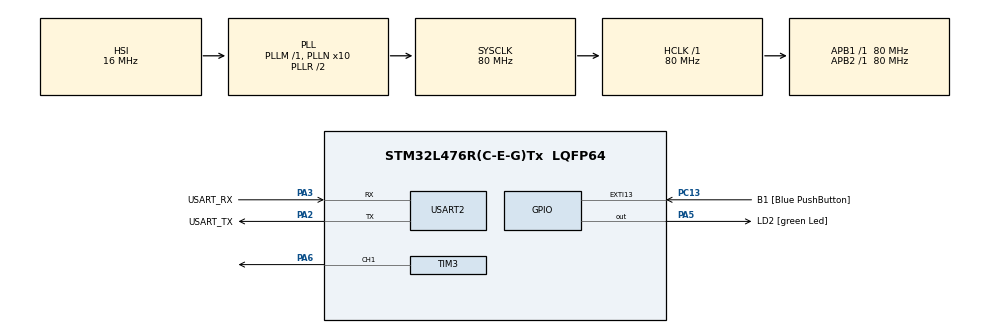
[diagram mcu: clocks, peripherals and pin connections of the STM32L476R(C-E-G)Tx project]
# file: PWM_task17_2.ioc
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Mcu.Family=STM32L4
Mcu.Name=STM32L476R(C-E-G)Tx
Mcu.Package=LQFP64
NVIC.PriorityGroup=NVIC_PRIORITYGROUP_4
NVIC.USART2_IRQn=true\:0\:0\:false\:false\:true\:true\:true\:true
PA13\ (JTMS-SWDIO).GPIO_Label=TMS
PA13\ (JTMS-SWDIO).Mode=Serial_Wire
PA13\ (JTMS-SWDIO).Signal=SYS_JTMS-SWDIO
PA14\ (JTCK-SWCLK).GPIO_Label=TCK
PA14\ (JTCK-SWCLK).Mode=Serial_Wire
PA14\ (JTCK-SWCLK).Signal=SYS_JTCK-SWCLK
PA2.GPIO_Label=USART_TX
PA2.GPIO_Mode=GPIO_MODE_AF_PP
PA2.GPIO_PuPd=GPIO_NOPULL
PA2.GPIO_Speed=GPIO_SPEED_FREQ_VERY_HIGH
PA2.Mode=Asynchronous
PA2.Signal=USART2_TX
PA3.GPIO_Label=USART_RX
PA3.GPIO_Mode=GPIO_MODE_AF_PP
PA3.GPIO_PuPd=GPIO_NOPULL
PA3.GPIO_Speed=GPIO_SPEED_FREQ_VERY_HIGH
PA3.Mode=Asynchronous
PA3.Signal=USART2_RX
PA5.GPIO_Label=LD2 [green Led]
PA5.GPIO_ModeDefaultOutputPP=GPIO_MODE_OUTPUT_PP
PA5.GPIO_PuPd=GPIO_NOPULL
PA5.GPIO_Speed=GPIO_SPEED_FREQ_LOW
PA5.Signal=GPIO_Output
PA6.Signal=S_TIM3_CH1
PB3\ (JTDO-TRACESWO).GPIO_Label=SWO
PB3\ (JTDO-TRACESWO).Signal=SYS_JTDO-SWO
PC13.GPIO_Label=B1 [Blue PushButton]
PC13.GPIO_ModeDefaultEXTI=GPIO_MODE_IT_FALLING
PC13.GPIO_PuPd=GPIO_NOPULL
PC13.Signal=GPXTI13
PC14-OSC32_IN\ (PC14).Mode=LSE-External-Oscillator
PC14-OSC32_IN\ (PC14).Signal=RCC_OSC32_IN
PC15-OSC32_OUT\ (PC15).Mode=LSE-External-Oscillator
PC15-OSC32_OUT\ (PC15).Signal=RCC_OSC32_OUT
PH0-OSC_IN\ (PH0).Signal=RCC_OSC_IN
PH1-OSC_OUT\ (PH1).Signal=RCC_OSC_OUT
ProjectManager.HeapSize=0x200
ProjectManager.StackSize=0x400
ProjectManager.TargetToolchain=STM32CubeIDE
RCC.ADCFreq_Value=64000000
RCC.AHBFreq_Value=80000000
RCC.APB1Freq_Value=80000000
RCC.APB1TimFreq_Value=80000000
RCC.APB2Freq_Value=80000000
RCC.APB2TimFreq_Value=80000000
RCC.CortexFreq_Value=80000000
RCC.HCLKFreq_Value=80000000
RCC.HSE_VALUE=8000000
RCC.HSI_VALUE=16000000
RCC.MSI_VALUE=4000000
RCC.PLLN=10
RCC.PLLSourceVirtual=RCC_PLLSOURCE_HSI
RCC.PREFETCH_ENABLE=1
RCC.SYSCLKFreq_VALUE=80000000
RCC.SYSCLKSource=RCC_SYSCLKSOURCE_PLLCLK
RCC.USBFreq_Value=64000000
RCC.VCOOutputFreq_Value=160000000
SH.S_TIM3_CH1.0=TIM3_CH1,PWM Generation1 CH1
TIM3.Channel-PWM\ Generation1\ CH1=TIM_CHANNEL_1
TIM3.Period=100
TIM3.Prescaler=7999
TIM3.Pulse-PWM\ Generation1\ CH1=20
USART2.VirtualMode-Asynchronous=VM_ASYNC
board=NUCLEO-L476RG

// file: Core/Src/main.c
/* USER CODE BEGIN Header */
/**
  ******************************************************************************
  * @file           : main.c
  * @brief          : Main program body
  ******************************************************************************
  * @attention
  *
  * Copyright (c) 2022 STMicroelectronics.
  * All rights reserved.
  *
  * This software is licensed under terms that can be found in the LICENSE file
  * in the root directory of this software component.
  * If no LICENSE file comes with this software, it is provided AS-IS.
  *
  ******************************************************************************
  */
/* USER CODE END Header */
#include "main.h"

 TIM_HandleTypeDef htim3;

UART_HandleTypeDef huart2;

void SystemClock_Config(void);
static void MX_GPIO_Init(void);
static void MX_USART2_UART_Init(void);
static void MX_TIM3_Init(void);

/* USER CODE BEGIN 0 */

#define MAX_BUFFER_LENGTH 100
uint8_t isBrightness = 0;
uint8_t brightnessCounter = 0;
uint8_t cmdbuffer[MAX_BUFFER_LENGTH];
int cmdcount = 0;

int commTask()
{
	uint8_t ch;

	HAL_StatusTypeDef Status = HAL_UART_Receive(&huart2, &ch, 1, 0);
	if (Status != HAL_OK) {
		return 0;
	}

	if (ch != '\r' && ch != '\n')
	{
		HAL_UART_Transmit(&huart2, &ch, 1, 0xFFFF);

		if (cmdcount >= MAX_BUFFER_LENGTH)
		{
			cmdcount = 0;
		}

		cmdbuffer[cmdcount++] = ch;
		return 0;
	}

	HAL_UART_Transmit(&huart2, (uint8_t*)"\r\n", 2, 0xFFFF);

	cmdbuffer[cmdcount] = 0;
	cmdcount = 0;
	return 1;
}

void handleCommand()
{
  char delim[2] = " ";
  char* res = strtok(cmdbuffer, delim);

  if(res == NULL)
  {
	  return;
  }

  while(res != NULL)
  {
	  if (strcmp(res, "full") == 0)
	  {
		  isBrightness = 0;
		  while(res != NULL)
		  {
				 // stateOn();
				  return;
		  }
	  }
	  else if (strcmp(res, "off") == 0)
	  {
		  isBrightness = 0;
		 // stateOff();
		  return;
	  }
	  else if (strcmp(res, "half") == 0)
	  {
		  isBrightness = 0;
		 // stateHalfBrightness();
		  return;
	  }

	  else if (strcmp(res, "blink") == 0)
	  {
		  isBrightness = 0;
		  //stateBlink();
		  return;
	  }
	  if (strcmp(res, "set") == 0)
	  {
		  isBrightness = 1;
		  while(res != NULL)
		  {
			  res = strtok(NULL, delim);
			  int count = atoi(res);
			  {
				  setBrightness(count);
				  return;
			  }
		  }
	  }
  }

  printf("Invalid command\r\n");

}

/* USER CODE END 0 */

int main(void)
{

  /* MCU Configuration--------------------------------------------------------*/

  /* Reset of all peripherals, Initializes the Flash interface and the Systick. */
  HAL_Init();

  /* Configure the system clock */
  SystemClock_Config();

  /* Initialize all configured peripherals */
  MX_GPIO_Init();
  MX_USART2_UART_Init();
  MX_TIM3_Init();
  /* USER CODE BEGIN 2 */
  //HAL_NVIC_EnableIRQ(TIM3_IRQn); // turn on interrupts
  HAL_TIM_Base_Start(&htim3);// start interrupts  HAL_TIM_PeriodElapsedCallback
  HAL_TIM_PWM_Start(&htim3, TIM_CHANNEL_1);//start interrupts HAL_TIM_PWM_PulseFinishedCallback

  /* USER CODE END 2 */

  /* Infinite loop */
  while (1)
  {

    /* USER CODE BEGIN 3 */
	  if(commTask())
	  {
		  handleCommand();
	  }
  }
  /* USER CODE END 3 */
}

void SystemClock_Config(void)
{
  RCC_OscInitTypeDef RCC_OscInitStruct = {0};
  RCC_ClkInitTypeDef RCC_ClkInitStruct = {0};

  /** Configure the main internal regulator output voltage
  */
  if (HAL_PWREx_ControlVoltageScaling(PWR_REGULATOR_VOLTAGE_SCALE1) != HAL_OK)
  {
    Error_Handler();
  }

  /** Initializes the RCC Oscillators according to the specified parameters
  * in the RCC_OscInitTypeDef structure.
  */
  RCC_OscInitStruct.OscillatorType = RCC_OSCILLATORTYPE_HSI;
  RCC_OscInitStruct.HSIState = RCC_HSI_ON;
  RCC_OscInitStruct.HSICalibrationValue = RCC_HSICALIBRATION_DEFAULT;
  RCC_OscInitStruct.PLL.PLLState = RCC_PLL_ON;
  RCC_OscInitStruct.PLL.PLLSource = RCC_PLLSOURCE_HSI;
  RCC_OscInitStruct.PLL.PLLM = 1;
  RCC_OscInitStruct.PLL.PLLN = 10;
  RCC_OscInitStruct.PLL.PLLP = RCC_PLLP_DIV7;
  RCC_OscInitStruct.PLL.PLLQ = RCC_PLLQ_DIV2;
  RCC_OscInitStruct.PLL.PLLR = RCC_PLLR_DIV2;
  if (HAL_RCC_OscConfig(&RCC_OscInitStruct) != HAL_OK)
  {
    Error_Handler();
  }

  /** Initializes the CPU, AHB and APB buses clocks
  */
  RCC_ClkInitStruct.ClockType = RCC_CLOCKTYPE_HCLK|RCC_CLOCKTYPE_SYSCLK
                              |RCC_CLOCKTYPE_PCLK1|RCC_CLOCKTYPE_PCLK2;
  RCC_ClkInitStruct.SYSCLKSource = RCC_SYSCLKSOURCE_PLLCLK;
  RCC_ClkInitStruct.AHBCLKDivider = RCC_SYSCLK_DIV1;
  RCC_ClkInitStruct.APB1CLKDivider = RCC_HCLK_DIV1;
  RCC_ClkInitStruct.APB2CLKDivider = RCC_HCLK_DIV1;

  if (HAL_RCC_ClockConfig(&RCC_ClkInitStruct, FLASH_LATENCY_4) != HAL_OK)
  {
    Error_Handler();
  }
}

static void MX_TIM3_Init(void)
{

  TIM_MasterConfigTypeDef sMasterConfig = {0};
  TIM_OC_InitTypeDef sConfigOC = {0};

  htim3.Instance = TIM3;
  htim3.Init.Prescaler = 7999;
  htim3.Init.CounterMode = TIM_COUNTERMODE_UP;
  htim3.Init.Period = 100;
  htim3.Init.ClockDivision = TIM_CLOCKDIVISION_DIV1;
  htim3.Init.AutoReloadPreload = TIM_AUTORELOAD_PRELOAD_DISABLE;
  if (HAL_TIM_PWM_Init(&htim3) != HAL_OK)
  {
    Error_Handler();
  }
  sMasterConfig.MasterOutputTrigger = TIM_TRGO_RESET;
  sMasterConfig.MasterSlaveMode = TIM_MASTERSLAVEMODE_DISABLE;
  if (HAL_TIMEx_MasterConfigSynchronization(&htim3, &sMasterConfig) != HAL_OK)
  {
    Error_Handler();
  }
  sConfigOC.OCMode = TIM_OCMODE_PWM1;
  sConfigOC.Pulse = 20;
  sConfigOC.OCPolarity = TIM_OCPOLARITY_HIGH;
  sConfigOC.OCFastMode = TIM_OCFAST_DISABLE;
  if (HAL_TIM_PWM_ConfigChannel(&htim3, &sConfigOC, TIM_CHANNEL_1) != HAL_OK)
  {
    Error_Handler();
  }
  HAL_TIM_MspPostInit(&htim3);

}

static void MX_USART2_UART_Init(void)
{

  huart2.Instance = USART2;
  huart2.Init.BaudRate = 115200;
  huart2.Init.WordLength = UART_WORDLENGTH_8B;
  huart2.Init.StopBits = UART_STOPBITS_1;
  huart2.Init.Parity = UART_PARITY_NONE;
  huart2.Init.Mode = UART_MODE_TX_RX;
  huart2.Init.HwFlowCtl = UART_HWCONTROL_NONE;
  huart2.Init.OverSampling = UART_OVERSAMPLING_16;
  huart2.Init.OneBitSampling = UART_ONE_BIT_SAMPLE_DISABLE;
  huart2.AdvancedInit.AdvFeatureInit = UART_ADVFEATURE_NO_INIT;
  if (HAL_UART_Init(&huart2) != HAL_OK)
  {
    Error_Handler();
  }

}

static void MX_GPIO_Init(void)
{
  GPIO_InitTypeDef GPIO_InitStruct = {0};

  /* GPIO Ports Clock Enable */
  __HAL_RCC_GPIOC_CLK_ENABLE();
  __HAL_RCC_GPIOH_CLK_ENABLE();
  __HAL_RCC_GPIOA_CLK_ENABLE();
  __HAL_RCC_GPIOB_CLK_ENABLE();

  /*Configure GPIO pin Output Level */
  HAL_GPIO_WritePin(LD2_GPIO_Port, LD2_Pin, GPIO_PIN_RESET);

  /*Configure GPIO pin : B1_Pin */
  GPIO_InitStruct.Pin = B1_Pin;
  GPIO_InitStruct.Mode = GPIO_MODE_IT_FALLING;
  GPIO_InitStruct.Pull = GPIO_NOPULL;
  HAL_GPIO_Init(B1_GPIO_Port, &GPIO_InitStruct);

  /*Configure GPIO pin : LD2_Pin */
  GPIO_InitStruct.Pin = LD2_Pin;
  GPIO_InitStruct.Mode = GPIO_MODE_OUTPUT_PP;
  GPIO_InitStruct.Pull = GPIO_NOPULL;
  GPIO_InitStruct.Speed = GPIO_SPEED_FREQ_LOW;
  HAL_GPIO_Init(LD2_GPIO_Port, &GPIO_InitStruct);

}

void Error_Handler(void)
{
  __disable_irq();
  while (1)
  {
  }
}
